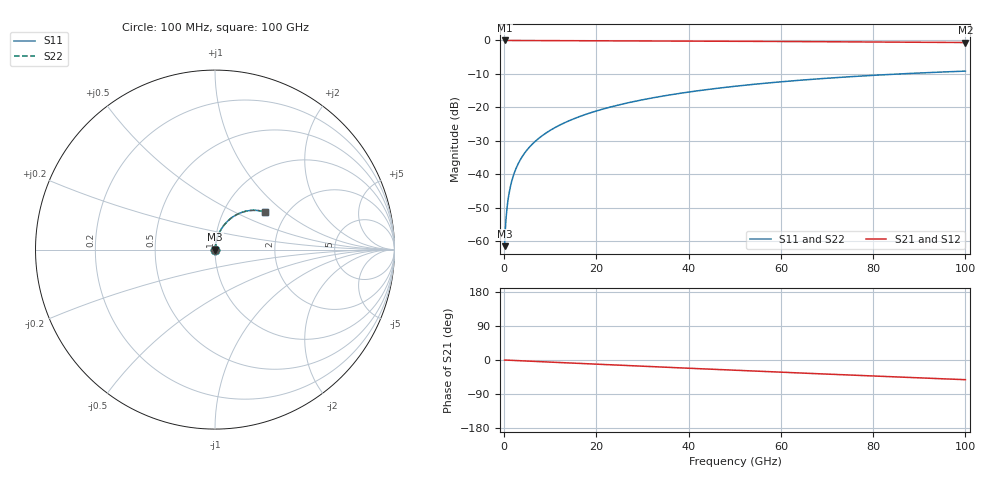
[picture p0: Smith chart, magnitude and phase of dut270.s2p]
! Touchstone file exported from HFSS 2026.1.0
!  File:  C:/ffzhzh/LocalFiles/Ansys_Project_Files/temp_train_RDL_270_1783501825_44152.aedt
!  Generated:  05:11:40 PM Jul  8, 2026
!  Design:  RDL
!  Project:  temp_train_RDL_270_1783501825_44152
! Variables:
!  h_bsmrdl = 2um
!  h_ox = 20um
!  h_rdl = 5um
!  h_sub = 80um
!  h_tmrdl = 4.34um
!  h_tsv = 80um
!  h_via = 3um
!  l_bsmrdl = 300um
!  l_sub = 543.2um
!  l_tmrdl = 143.2um
!  m_sub = 200um
!  pitch = 45um
!  r_tsv = 6um
!  s_tmrdl = 10um
!  w_bsmrdl = 18um
!  w_sub = 500um
!  w_tmrdl = 26.52um
!  x_tsv_center1 = 156.46um
!  x_tsv_center2 = 474.46um
!  x_tsv_center3 = 644.18um
!  x_tsv_center4 = 962.18um
!  x_tsv_center5 = 1131.9um
!  x_tsv_center6 = 1449.9um
# GHz S MA R 50.000000
! Terminal data exported
! Port[1] = TM_RDL1_1_T1
! Port[2] = TM_RDL1_1_T2
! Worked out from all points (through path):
!   1000 points, 100 MHz to 100 GHz, reference 50 ohm
!   highest |S21| = -0.01 dB at 100 MHz (marker M1); lowest = -0.6 dB at 100 GHz (marker M2)
!   group delay of S21, straight-line fit = 1.44 ps
!   lowest |S11| = -61.5 dB at 100 MHz (marker M3), VSWR 1.00, Z = 50.1 + j0.0543 ohm
!   |S11| at or under -10 dB: start of sweep to 85.99 GHz
!   |S22| runs from -61.5 to -9.2 dB; largest |S21 - S12| = 3.5e-15
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0.1  0.0008396 40.2  0.9994 -0.1  0.9994 -0.1  0.0008396 40.2
! Gamma 0 0 0 0
! Port Impedance 50 0 50 0
0.3  0.001692 64.1  0.9993 -0.2  0.9993 -0.2  0.001692 64.1
0.7  0.003481 76.0  0.9992 -0.4  0.9992 -0.4  0.003481 76.0
0.9  0.004398 78.5  0.9992 -0.5  0.9992 -0.5  0.004398 78.5
1.2  0.005787 80.6  0.9991 -0.7  0.9991 -0.7  0.005787 80.6
1.5  0.007183 81.9  0.9991 -0.9  0.9991 -0.9  0.007183 81.9
2  0.00951 83.0  0.999 -1.1  0.999 -1.1  0.00951 83.0
2.5  0.01183 83.4  0.9989 -1.4  0.9989 -1.4  0.01183 83.4
3.2  0.01506 83.6  0.9987 -1.8  0.9987 -1.8  0.01506 83.6
4  0.01871 83.6  0.9985 -2.3  0.9985 -2.3  0.01871 83.6
5  0.02323 83.4  0.9982 -2.8  0.9982 -2.8  0.02323 83.3
6.1  0.02815 83.0  0.9978 -3.4  0.9978 -3.4  0.02815 83.0
8.9  0.0405 81.9  0.9969 -5.0  0.9969 -5.0  0.0405 81.9
12.4  0.05575 80.3  0.9957 -6.9  0.9957 -6.9  0.05575 80.3
16.8  0.07466 78.3  0.994 -9.3  0.994 -9.3  0.07466 78.3
24.2  0.1058 74.7  0.9906 -13.3  0.9906 -13.3  0.1059 74.6
33.4  0.1433 70.0  0.9852 -18.2  0.9852 -18.2  0.1433 70.0
41.2  0.1737 66.0  0.9799 -22.4  0.9799 -22.4  0.1737 66.0
50.1  0.2066 61.5  0.9731 -27.0  0.9731 -27.0  0.2066 61.5
66.7  0.2621 53.2  0.959 -35.6  0.959 -35.6  0.2621 53.2
83.4  0.3097 45.0  0.9444 -43.9  0.9444 -43.9  0.3097 45.0
100  0.3478 37.1  0.9307 -52.0  0.9307 -52.0  0.3478 37.0
